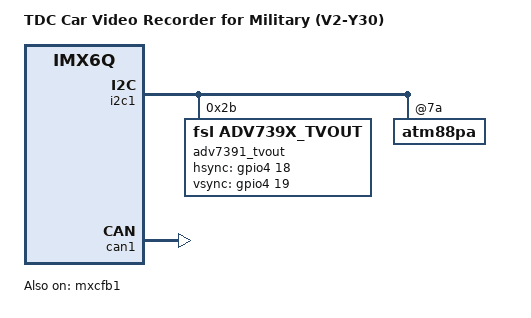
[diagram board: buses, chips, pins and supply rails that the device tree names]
/*
 * Technology Development Co.,Ltd
 * http://www.nedi.com.cn
 * Varphone Wong <varphone@qq.com>
 */

/dts-v1/;
#include "imx6q.dtsi"
#include "myimx6ek200-cm.dtsi"

/ {
	model = "TDC Car Video Recorder for Military (V2-Y30)";
	compatible = "tdc,cvr-mil-v2-y30", "tdc,cvr-mil-v2", "myzr,myimx6", "myzr,myimx6q", "myzr,myimx6cb200", "myzr,myimx6ek200", "fsl,imx6q", "fsl,imx6q-ldb";

	reserved-memory {
		#address-cells = <1>;
		#size-cells = <1>;
		ranges;

		/* global autoconfigured region for contiguous allocations */
		linux,cma {
			compatible = "shared-dma-pool";
			reusable;
			size = <0x1E000000>;
			linux,cma-default;
		};
	};

	lcd@0 {
		compatible = "fsl,bt656";
		pinctrl-names = "default";
		pinctrl-0 = <&pinctrl_adv739x_tvout>;
		ipu_id = <0>;
		disp_id = <0>;
		default_ifmt = "BT656";
		status = "okay";
	};
};

&iomuxc {
	cvr-mil-v2-y30 {
		pinctrl_adv739x_tvout: adv739xtvoutgrp {
			fsl,pins = <
				MX6QDL_PAD_DI0_DISP_CLK__IPU1_DI0_DISP_CLK 0x10
				MX6QDL_PAD_DISP0_DAT16__IPU1_DISP0_DATA16  0x10
				MX6QDL_PAD_DISP0_DAT17__IPU1_DISP0_DATA17  0x10
				MX6QDL_PAD_DISP0_DAT18__IPU1_DISP0_DATA18  0x10
				MX6QDL_PAD_DISP0_DAT19__IPU1_DISP0_DATA19  0x10
				MX6QDL_PAD_DISP0_DAT20__IPU1_DISP0_DATA20  0x10
				MX6QDL_PAD_DISP0_DAT21__IPU1_DISP0_DATA21  0x10
				MX6QDL_PAD_DISP0_DAT22__IPU1_DISP0_DATA22  0x10
				MX6QDL_PAD_DISP0_DAT23__IPU1_DISP0_DATA23  0x10
			>;
		};
		pinctrl_adv739x_tvout_gpios: adv739xtvoutgpiosgrp {
			fsl,pins = <
				MX6QDL_PAD_DI0_PIN2__GPIO4_IO18            0x80000000
				MX6QDL_PAD_DI0_PIN3__GPIO4_IO19            0x80000000
			>;
		};
	};
};

&i2c1 {
	adv7391_tvout@2b {
		compatible = "fsl,adv739x_tvout";
		pinctrl-names = "default";
		pinctrl-0 = <&pinctrl_adv739x_tvout_gpios>;
		hsync-gpios = <&gpio4 18 0>;
		vsync-gpios = <&gpio4 19 0>;
		reg = <0x2b>;
		default_ifmt = "BT656";
		ipu_id = <0>;
		disp_id = <0>;
	};

	atm88pa@7a {
		power {
			/* poweroff GPIO5_IO20, ACTIVE_LOW */
			gpios = <&gpio5 20 1>;
		};
	};
};

&ldb {
	lvds-channel@0 {
		crtc = "ipu2-di0";
	};
	lvds-channel@1 {
		crtc = "ipu2-di1";
	};
};

&can1 {
	status = "okay";
};

&can2 {
	status = "disabled";
};

&fec {
	status = "disabled";
};

&hdmi_audio {
	status = "disabled";
};

&hdmi_cec {
	status = "disabled";
};

&hdmi_core {
	status = "disabled";
};

&hdmi_video {
	status = "disabled";
};

&i2c2 {
	status = "disabled";
};

&i2c3 {
	status = "disabled";
};

&mxcfb1 {
	compatible = "fsl,mxc_sdc_fb";
	disp_dev = "adv739x";
	interface_pix_fmt = "BT656";
	mode_str ="BT656-PAL";
	default_bpp = <32>;
	int_clk = <0>;
	late_init = <0>;
	status = "okay";
};

&mxcfb2 {
	status = "disabled";
};

&mxcfb3 {
	status = "disabled";
};

&mxcfb4 {
	status = "disabled";
};

&pcie {
	status = "disabled";
};

&pwm1 {
	status = "disabled";
};

&sata {
	status = "disabled";
};

&snvs {
	status = "disabled";
};
